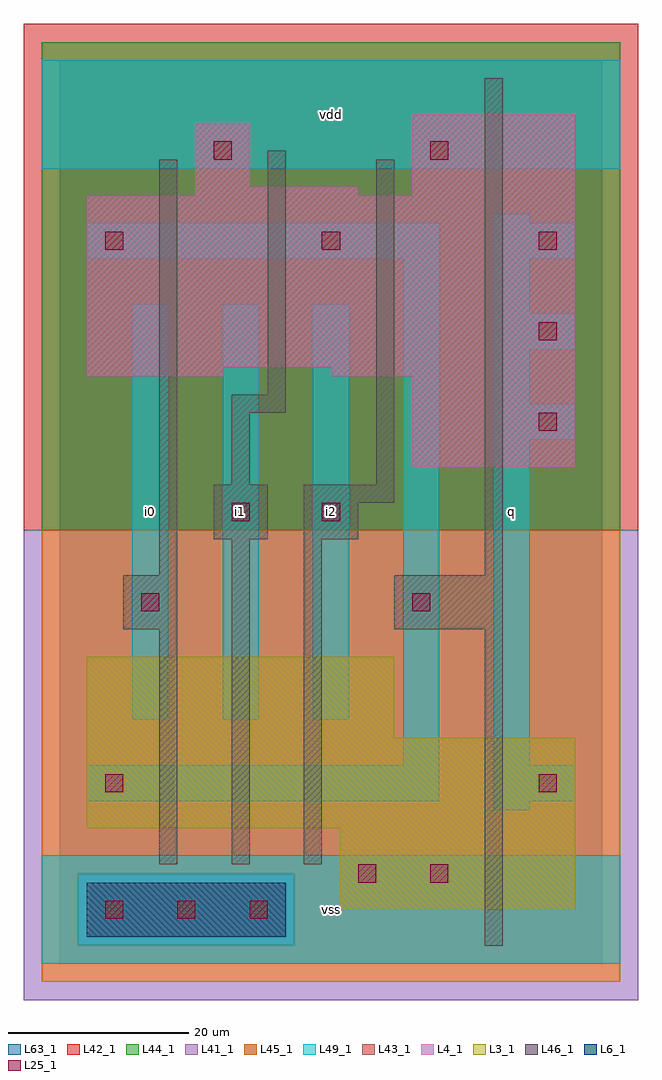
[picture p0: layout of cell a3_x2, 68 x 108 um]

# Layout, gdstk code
import gdstk
lib = gdstk.Library(unit=1e-6, precision=1e-09)
def R(c, l, rs):  # rectangles x0, y0, x1, y1
    for r in rs: c.add(gdstk.rectangle(r[:2], r[2:], *l))
def A(c, l, x, y, w, h, nx, ny, dx, dy):  # array of equal rectangles
    R(c, l, [(x+i*dx, y+j*dy, x+i*dx+w, y+j*dy+h) for i in range(nx) for j in range(ny)])
L3_1 = (3, 1)
L4_1 = (4, 1)
L6_1 = (6, 1)
L25_1 = (25, 1)
L41_1 = (41, 1)
L42_1 = (42, 1)
L43_1 = (43, 1)
L44_1 = (44, 1)
L45_1 = (45, 1)
L46_1 = (46, 1)
L49_1 = (49, 1)
L63_1 = (63, 1)

a3_x2 = lib.new_cell('a3_x2')
R(a3_x2, L3_1, [(31,6,57,15), (3,15,57,25), (3,25,37,34)])
R(a3_x2, L4_1, [(39,55,57,65), (3,65,18,66), (30,65,57,66), (3,66,57,85), (15,85,33,86), (39,85,57,94), (15,86,21,93)])
R(a3_x2, L6_1, [(3,3,25,9), (3,3,25,9)])
A(a3_x2, L25_1, 5, 5, 2, 2, 3, 1, 8, 0)
A(a3_x2, L25_1, 5, 79, 2, 2, 3, 1, 24, 0)
R(a3_x2, L25_1, [(33,9,35,11), (41,9,43,11), (5,19,7,21), (53,19,55,21), (9,39,11,41), (39,39,41,41), (19,49,21,51), (29,49,31,51), (53,59,55,61), (53,69,55,71), (17,89,19,91), (41,89,43,91)])
R(a3_x2, L41_1, [(-4,-4,64,48)])
R(a3_x2, L42_1, [(-4,48,64,104)])
R(a3_x2, L43_1, [(3,3,25,9), (31,6,57,15), (3,15,57,25), (3,25,37,34), (39,55,57,65), (3,65,18,66), (30,65,57,66), (3,66,57,85), (15,85,33,86), (39,85,57,94), (15,86,21,93)])
R(a3_x2, L44_1, [(2,2,26,10), (-2,48,62,102)])
R(a3_x2, L45_1, [(-2,-2,62,2), (-2,2,2,10), (26,2,62,10), (-2,10,62,48)])
R(a3_x2, L46_1, [(47,2,49,37), (11,11,13,37), (19,11,21,47), (27,11,29,47), (7,37,13,43), (37,37,49,43), (11,43,13,89), (47,43,49,98), (17,47,23,53), (27,47,33,51), (27,51,37,53), (19,53,21,61), (35,53,37,89), (19,61,25,63), (23,63,25,90)])
A(a3_x2, L49_1, 8, 27, 4, 46, 3, 1, 10, 0)
A(a3_x2, L49_1, 48, 58, 9, 4, 1, 3, 0, 10)
R(a3_x2, L49_1, [(-2,0,62,12), (48,17,52,18), (3,18,42,22), (48,18,57,22), (38,22,42,78), (48,22,52,58), (48,62,52,68), (48,72,52,78), (3,78,42,82), (48,82,52,83), (-2,88,62,100)])
R(a3_x2, L63_1, [(0,0,60,100)])
a3_x2.add(gdstk.Label('i0', (10,50), layer=49, texttype=1))
a3_x2.add(gdstk.Label('i1', (20,50), layer=49, texttype=1))
a3_x2.add(gdstk.Label('vss', (30,6), layer=49, texttype=1))
a3_x2.add(gdstk.Label('i2', (30,50), layer=49, texttype=1))
a3_x2.add(gdstk.Label('vdd', (30,94), layer=49, texttype=1))
a3_x2.add(gdstk.Label('q', (50,50), layer=49, texttype=1))

lib.write_gds('a3_x2.gds')
